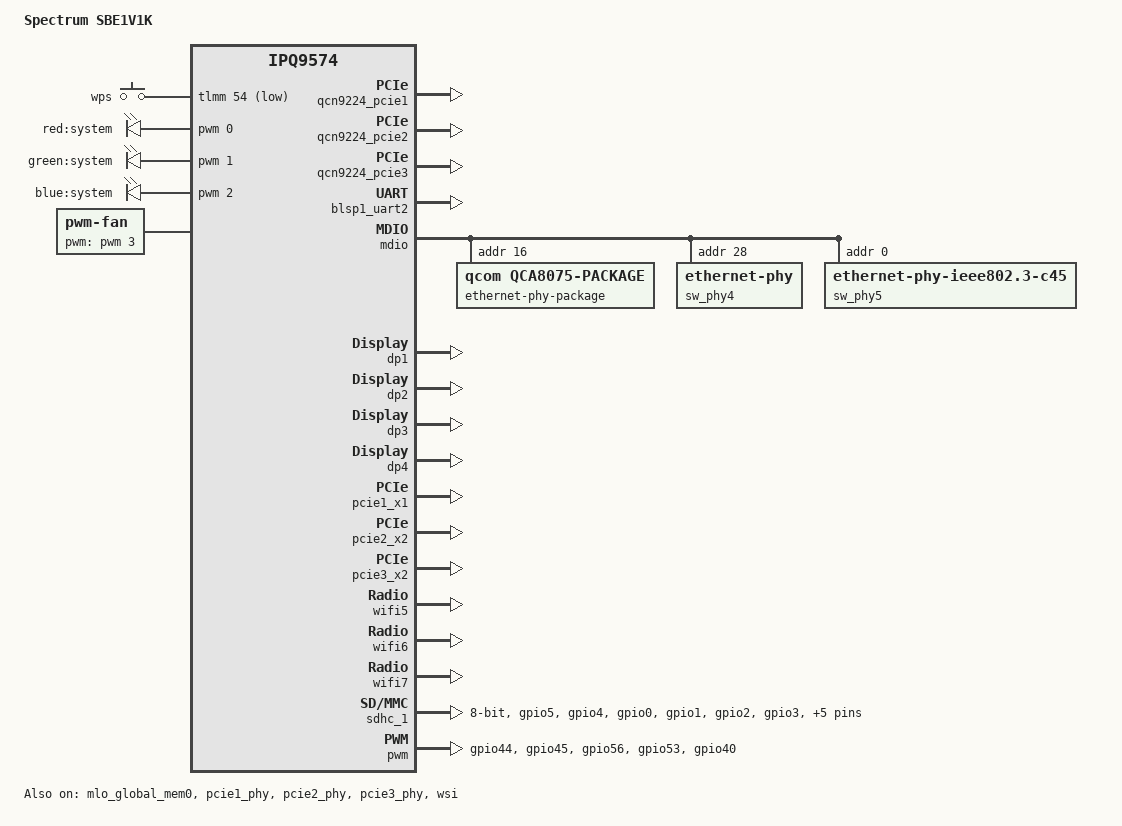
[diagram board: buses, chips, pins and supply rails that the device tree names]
// SPDX-License-Identifier: (GPL-2.0+ OR BSD-3-Clause)
/*
 * Spectrum SBE1V1K (Askey) - IPQ9574 + 3 x QCN9224
 *
 * STAGED DRAFT.  This file has NOT been applied to sources/, has never been
 * built with make, and has never been booted.  It exists so the device
 * definition can be reviewed before the build stage is approved.
 *
 * Evidence tags used below:
 *   RD = arch/arm64/boot/dts/qcom/ipq9574-rdp433.dts
 *        (oss-kernel-linux-ipq-files, the reference board for this target)
 *   DS = ipq9574.dtsi / ipq9574-qcn9224-default-memory.dtsi
 *   S1 = Spectrum product DTB extracted from the vendor firmware (QSDK 13,
 *        Linux 6.6.47) - extracted/kernel/sbe1v1k.dtb
 *   S2 = Askey QSDK-14 DTB extracted from the reference firmware
 *        (Linux 6.6.116, this ath12k generation) -
 *        extracted/qsdk14/sbe1v1k-askey.dtb
 *   NET = base-files/etc/board.d/01_network from the vendor rootfs
 *
 * See docs/PB_DEVICE_DEFINITION.md for the per-value evidence table and for
 * the list of values that remain UNVERIFIED.
 */

/dts-v1/;

#include <dt-bindings/gpio/gpio.h>
#include <dt-bindings/input/input.h>
#include <dt-bindings/leds/common.h>
#include "ipq9574.dtsi"
#include "ipq9574-qcn9224-default-memory.dtsi"

/ {
	/* S1: "Spectrum SBE1V1K ( Wi-Fi 7 320MHZ )"; shortened, no changed meaning */
	model = "Spectrum SBE1V1K";

	/*
	 * The first string is what /lib/preinit/02_sysinfo writes to
	 * /tmp/sysinfo/board_name (strings /proc/device-tree/compatible | head -1),
	 * and every board.d branch in the vendor rootfs keys on it (S1, NET).
	 */
	compatible = "spectrum,sbe1v1k", "qcom,ipq9574-ap-al02-c4",
		     "qcom,ipq9574-al02", "qcom,ipq9574";

	aliases {
		/* Console.  DS defines serial0..2 nowhere; RD does it this way. */
		serial0 = &blsp1_uart2;

		/*
		 * Documentation only: nss_dp_main.c never calls of_alias_get_id(),
		 * so ethN are assigned by DT probe order (see the dp nodes below).
		 * RD's "/soc/dpN" strings no longer resolve (the node is soc@0).
		 */
		ethernet0 = &dp1;	/* 10G   RTL8261N  */
		ethernet1 = &dp2;	/* 2.5G  QCA8081   */
		ethernet2 = &dp3;	/* 1G    qca8075   */
		ethernet3 = &dp4;	/* 1G    qca8075   */
	};

	chosen {
		stdout-path = "serial0:115200n8";

		/*
		 * S1 carries the same option.  S1 also appends
		 * "cnss2.enable_mlo_support=1", which only applies to the qcawifi
		 * stack and is deliberately not carried over.
		 *
		 * RD's "pcie_pme=nomsi" is NOT copied: the vendor product DTB (S1)
		 * does not set it, so it is not part of this board's boot contract.
		 */
		bootargs-append = " fstools_ignore_partname=1";
	};
};

/*
 * ---------------------------------------------------------------------------
 * Reserved memory
 * ---------------------------------------------------------------------------
 */

/*
 * DS emits nss@40000000 only under #if defined(__IPQ_PROFILE_MINENT__), which
 * no target in this tree defines.  S1 proves the vendor reserves it and the
 * NSS firmware requires it.  32 MB at 0x40000000..0x42000000 is the reason
 * Device/spectrum_sbe1v1k must set KERNEL_LOADADDR := 0x42000000; the target's
 * Device/Default falls back to 0x40000000 because CONFIG_ENABLE_UBI_CORE is
 * not a defined symbol anywhere.
 */
&{/reserved-memory} {
	nss@40000000 {
		no-map;
		reg = <0x0 0x40000000 0x0 0x2000000>;
		status = "okay";
	};

	/*
	 * DS ships three 36 MB windows whose node names encode the default base
	 * addresses.  S2 (the same board, same driver generation) uses 64 MB
	 * windows at 0x50100000 / 0x54100000 / 0x58100000 but left the node unit
	 * addresses at the old values.  The nodes are deleted and redeclared so
	 * the unit address matches reg.
	 *
	 * Why the region base and size are what matters, and the cnss-node
	 * base-addr/caldb-addr properties are not: ath12k looks the region up by
	 * name ("host-ddr-mem", ath12k/core.c: ath12k_core_get_reserved_mem_by_name)
	 * and then lays out every firmware chunk sequentially from its base
	 * (ath12k/qmi.c: ab->qmi.target_mem[idx].paddr = ddr_rmem->base + sz).
	 * Nothing in ath12k reads base-addr / hremote-size.
	 */
	/delete-node/ qcn9224_pcie1@50100000;
	/delete-node/ qcn9224_pcie2@52500000;
	/delete-node/ qcn9224_pcie3@54900000;

	qcn9224_pcie1: qcn9224_pcie1@50100000 {
		no-map;
		reg = <0x0 0x50100000 0x0 0x4000000>;
		status = "okay";
	};

	qcn9224_pcie2: qcn9224_pcie2@54100000 {
		no-map;
		reg = <0x0 0x54100000 0x0 0x4000000>;
		status = "okay";
	};

	qcn9224_pcie3: qcn9224_pcie3@58100000 {
		no-map;
		reg = <0x0 0x58100000 0x0 0x4000000>;
		status = "okay";
	};
};

/*
 * mhi_region1..3 stay disabled, exactly as in RD and S2: RD only enables them
 * under __MHI_BUS_RESERVED_DMA_POOL__, a macro no build in this tree defines.
 */

/* S2 and RD both enable this one. */
&mlo_global_mem0 {
	status = "okay";
};

/*
 * ---------------------------------------------------------------------------
 * Console
 * ---------------------------------------------------------------------------
 */

&blsp1_uart2 {
	pinctrl-0 = <&uart2_pins>;
	pinctrl-names = "default";
	status = "okay";
};

/*
 * ---------------------------------------------------------------------------
 * Ethernet: MDIO, PHYs, switch, nss-dp
 * ---------------------------------------------------------------------------
 */

/* S1: two reset lines, tlmm 60 (qca8075) and tlmm 52 (RTL8261N). */
&mdio {
	pinctrl-0 = <&mdio_pins>;
	pinctrl-names = "default";
	phy-reset-gpio = <&tlmm 60 GPIO_ACTIVE_LOW &tlmm 52 GPIO_ACTIVE_LOW>;
	status = "okay";

	ethernet-phy-package@0 {
		compatible = "qcom,qca8075-package";
		#address-cells = <1>;
		#size-cells = <0>;
		reg = <0x10>;
		qcom,package-mode = "qsgmii";

		sw_phy0: ethernet-phy@10 {
			reg = <0x10>;
		};

		sw_phy1: ethernet-phy@11 {
			reg = <0x11>;
		};

		sw_phy2: ethernet-phy@12 {
			reg = <0x12>;
		};

		sw_phy3: ethernet-phy@13 {
			reg = <0x13>;
		};
	};

	/* QCA8081 2.5G, S1 reg 0x1c */
	sw_phy4: ethernet-phy@1c {
		reg = <0x1c>;
	};

	/* RTL8261N 10G, C45, S1 reg 0x00 */
	sw_phy5: ethernet-phy@0 {
		compatible = "ethernet-phy-ieee802.3-c45";
		reg = <0x0>;
	};
};

&ess_switch {
	switch_cpu_bmp = <0x1>;
	switch_inner_bmp = <0x80>;
	/* S1/NET: port 5 is WAN; ports 3, 4 and 6 are LAN (0x58 = BIT(3)|BIT(4)|BIT(6)) */
	switch_lan_bmp = <0x58>;
	switch_wan_bmp = <0x20>;
	/* S1: QSGMII / SGMII_CHANNEL0 / USXGMII */
	switch_mac_mode = <0x0b>;
	switch_mac_mode1 = <0x0f>;
	switch_mac_mode2 = <0x0d>;
	bm_tick_mode = <0>;
	tm_tick_mode = <0>;

	qcom,port_phyinfo {
		port@0 {
			port_id = <1>;
			phy_address = <0x10>;
			phy-handle = <&sw_phy0>;
			phy-mode = "qsgmii";
		};

		port@1 {
			port_id = <2>;
			phy_address = <0x11>;
			phy-handle = <&sw_phy1>;
			phy-mode = "qsgmii";
		};

		port@2 {
			port_id = <3>;
			phy_address = <0x12>;
			phy-handle = <&sw_phy2>;
			phy-mode = "qsgmii";
		};

		port@3 {
			port_id = <4>;
			phy_address = <0x13>;
			phy-handle = <&sw_phy3>;
			phy-mode = "qsgmii";
		};

		port@4 {
			port_id = <5>;
			phy_address = <0x1c>;
			phy-handle = <&sw_phy4>;
			phy-mode = "sgmii";
			port_mac_sel = "QGMAC_PORT";
		};

		port@5 {
			port_id = <6>;
			phy_address = <0x0>;
			phy-handle = <&sw_phy5>;
			phy-mode = "usxgmii";
			ethernet-phy-ieee802.3-c45;
		};
	};

	/* S1: QCA8081 LED sources for port 5; parsed by ssdk_dt_parse_port_ledinfo */
	qcom,port_ledinfo {
		port5 {
			port = <5>;

			led_source@f {
				source = <0xf>;
				mode = "normal";
				speed = "all";
				blink_en = "enable";
				freq = "auto";
				active = "low";
			};

			led_source@10 {
				source = <0x10>;
				mode = "normal";
				speed = "all";
				blink_en = "enable";
				freq = "auto";
				active = "low";
			};
		};
	};
};

/*
 * nss-dp probe order defines ethN: probe order is DT order, and
 * alloc_etherdev_mqs() hands out eth%d sequentially (nss_dp_main.c:1133).
 * The order below reproduces the vendor mapping recorded in NET:
 *   eth0 = dp1 = port 6 = RTL8261N 10G   (attached to br-lan by eth0-lan-attach)
 *   eth1 = dp2 = port 5 = QCA8081 2.5G   (wan)
 *   eth2 = dp3 = port 3 = qca8075        (lan)
 *   eth3 = dp4 = port 4 = qca8075        (lan)
 *
 * phy-mode is deliberately absent on every dp node.  of_get_phy_mode() fails,
 * which sets phylink_en = true (nss_dp_main.c:891 -- the sense of that branch
 * is inverted relative to a normal success check), and ssdk_port_phylink_setup()
 * then takes the interface type and phy-handle from qcom,port_phyinfo above.
 * This is RD's arrangement.  S1 instead put phy-mode/qcom,phy-mdio-addr on the
 * dp nodes, which selects the legacy phy_connect() path in a driver generation
 * this build does not use.
 *
 * mactype: 0 = qcom_gmac_ops (1G GMAC), 1 = syn_gmac_ops (Synopsys XGMAC).
 * For ipq95xx only hal/gmac_ops/qcom/qcom_if.o and hal/gmac_ops/syn/xgmac/syn_if.o
 * are linked (oss-lklm-nss-dp/Makefile), and nss_ipq95xx.c registers exactly
 * those two types.  Port 6 is USXGMII and therefore needs the XGMAC base
 * (0x3a514000) with mactype 1.  S2 -- the QSDK-14 build for this same board,
 * i.e. the driver generation this tree uses -- pairs dp1 id 6 / 0x3a514000 with
 * mactype 1.  S1 pairs that base with mactype 0, which is an artifact of its
 * older driver.  RD has no XGMAC port (its dp1 is port 1 at 0x3a001000,
 * mactype 0), so it is not evidence either way for port 6.
 *
 * qcom,ppe-offload-disabled is deliberately NOT copied from RD's dp1..dp4:
 * NSS/PPE offload is a requirement for this build.
 */
&soc {
	dp1: dp1 {
		device_type = "network";
		compatible = "qcom,nss-dp";
		qcom,id = <6>;
		reg = <0x3a514000 0x4000>;
		qcom,mactype = <1>;
		local-mac-address = [00 00 00 00 00 00];
	};

	dp2: dp2 {
		device_type = "network";
		compatible = "qcom,nss-dp";
		qcom,id = <5>;
		reg = <0x3a001800 0x200>;
		qcom,mactype = <0>;
		local-mac-address = [00 00 00 00 00 00];
	};

	dp3: dp3 {
		device_type = "network";
		compatible = "qcom,nss-dp";
		qcom,id = <3>;
		reg = <0x3a001400 0x200>;
		qcom,mactype = <0>;
		local-mac-address = [00 00 00 00 00 00];
	};

	dp4: dp4 {
		device_type = "network";
		compatible = "qcom,nss-dp";
		qcom,id = <4>;
		reg = <0x3a001600 0x200>;
		qcom,mactype = <0>;
		local-mac-address = [00 00 00 00 00 00];
	};

	/*
	 * EDMA host-driver ring configuration.  RD433, S1 and S2 carry this
	 * block with identical values (the interrupts arrays are element-for-
	 * element equal), and it is mandatory rather than tuning:
	 * qca-nss-dp's edma_v2 probe does of_property_read_u32() on
	 * qcom,txdesc-ring-start and the rest of the ring map
	 * (hal/dp_ops/edma_dp/edma_v2/edma.c:569) and returns -EINVAL when any
	 * is absent, and edma_irq_init() platform_get_irq()s one IRQ per
	 * txcmpl / rxdesc / rxfill ring plus misc, returning -1 on a shortfall.
	 * Without this node qca-nss-dp never binds and no Ethernet port ever
	 * appears (the v22 failure).  compatible/reg/resets/clocks stay as
	 * declared in ipq9574.dtsi; only the properties below are added.
	 */
	edma@3ab00000 {
		qcom,txdesc-ring-start = <4>;		/* Tx desc ring start ID */
		qcom,txdesc-rings = <28>;		/* Total number of Tx desc rings to be provisioned */
		qcom,txcmpl-ring-start = <4>;		/* Tx complete ring start ID */
		qcom,txcmpl-rings = <28>;		/* Total number of Tx complete rings to be provisioned */
		qcom,rxfill-ring-start = <4>;		/* Rx fill ring start ID */
		qcom,rxfill-rings = <4>;		/* Total number of Rx fill rings to be provisioned */
		qcom,rxdesc-ring-start = <20>;		/* Rx desc ring start ID */
		qcom,rxdesc-rings = <4>;		/* Total number of Rx desc rings to be provisioned */
		qcom,rx-page-mode = <0>;		/* Rx fill ring page mode */
		qcom,tx-map-priority-level = <1>;	/* Tx priority level per port */
		qcom,rx-map-priority-level = <1>;	/* Rx priority level per core */
		qcom,ppeds-num = <3>;			/* Number of PPEDS nodes */
		/* PPE-DS node format: <Rx-fill Tx-cmpl Rx Tx Queue-base Queue-count> */
		qcom,ppeds-map = <1 1 1 1 32 8>,	/* PPEDS Node#0 ring and queue map */
				 <2 2 2 2 40 8>,	/* PPEDS Node#1 ring and queue map */
				 <3 3 3 3 48 8>;	/* PPEDS Node#2 ring and queue map */
		qcom,txdesc-map = <8 9 10 11>,		/* Port0 per-core Tx ring map */
				  <12 13 14 15>,	/* Port1 per-core Tx ring map */
				  <16 17 18 19>,	/* Port2 per-core Tx ring map */
				  <20 21 22 23>,	/* Port3 per-core Tx ring map */
				  <24 25 26 27>,	/* Port4 per-core Tx ring map */
				  <28 29 30 31>,	/* Port5 per-core Tx ring map */
				  <4 5 6 7>;		/* Used only for packets from VP */
		qcom,txdesc-fc-grp-map = <1 2 3 4 5 6>;	/* Per GMAC flow control group map */
		qcom,rxfill-map = <4 5 6 7>;		/* Per-core Rx fill ring map */
		qcom,rxdesc-map = <20 21 22 23>;	/* Per-core Rx desc ring map */
		qcom,rx-queue-start = <0>;		/* Rx queue start */
		qcom,rx-ring-queue-map = <0 8 16 24>,	/* Priority 0 queues per-core Rx ring map */
					 <1 9 17 25>,	/* Priority 1 queues per-core Rx ring map */
					 <2 10 18 26>,	/* Priority 2 queues per-core Rx ring map */
					 <3 11 19 27>,	/* Priority 3 queues per-core Rx ring map */
					 <4 12 20 28>,	/* Priority 4 queues per-core Rx ring map */
					 <5 13 21 29>,	/* Priority 5 queues per-core Rx ring map */
					 <6 14 22 30>,	/* Priority 6 queues per-core Rx ring map */
					 <7 15 23 31>;	/* Priority 7 queues per-core Rx ring map */
		qcom,vp-id = <8>;			/* Virtual port dummy MAC Id */
		qcom,txdesc_point_offload_ring = <0>;	/* Txdesc point offload ring */
		qcom,txcmpl_point_offload_ring = <0>;	/* Txcmpl point offload ring */
		qcom,rxfill_point_offload_ring = <0>;	/* Rxfill point offload ring */
		qcom,rxdesc_point_offload_ring = <0>;	/* Rxdesc point offload ring */
		qcom,num_loopback_rings = <1>;
		qcom,txdesc_loopback_ring_id = <0>;
		qcom,txcmpl_loopback_ring_id = <0>;
		qcom,rxfill_loopback_ring_id = <0>;
		qcom,rxdesc_loopback_ring_id = <0>;
		qcom,loopback_queue_base = <56>;
		qcom,loopback_num_queues = <8>;
		interrupts = <0 367 4>,			/* Tx complete ring id #4 IRQ info */
			     <0 368 4>,			/* Tx complete ring id #5 IRQ info */
			     <0 369 4>,			/* Tx complete ring id #6 IRQ info */
			     <0 370 4>,			/* Tx complete ring id #7 IRQ info */
			     <0 371 4>,			/* Tx complete ring id #8 IRQ info */
			     <0 372 4>,			/* Tx complete ring id #9 IRQ info */
			     <0 373 4>,			/* Tx complete ring id #10 IRQ info */
			     <0 374 4>,			/* Tx complete ring id #11 IRQ info */
			     <0 375 4>,			/* Tx complete ring id #12 IRQ info */
			     <0 376 4>,			/* Tx complete ring id #13 IRQ info */
			     <0 377 4>,			/* Tx complete ring id #14 IRQ info */
			     <0 378 4>,			/* Tx complete ring id #15 IRQ info */
			     <0 379 4>,			/* Tx complete ring id #16 IRQ info */
			     <0 380 4>,			/* Tx complete ring id #17 IRQ info */
			     <0 381 4>,			/* Tx complete ring id #18 IRQ info */
			     <0 382 4>,			/* Tx complete ring id #19 IRQ info */
			     <0 383 4>,			/* Tx complete ring id #20 IRQ info */
			     <0 384 4>,			/* Tx complete ring id #21 IRQ info */
			     <0 509 4>,			/* Tx complete ring id #22 IRQ info */
			     <0 508 4>,			/* Tx complete ring id #23 IRQ info */
			     <0 507 4>,			/* Tx complete ring id #24 IRQ info */
			     <0 506 4>,			/* Tx complete ring id #25 IRQ info */
			     <0 505 4>,			/* Tx complete ring id #26 IRQ info */
			     <0 504 4>,			/* Tx complete ring id #27 IRQ info */
			     <0 503 4>,			/* Tx complete ring id #28 IRQ info */
			     <0 502 4>,			/* Tx complete ring id #29 IRQ info */
			     <0 501 4>,			/* Tx complete ring id #30 IRQ info */
			     <0 500 4>,			/* Tx complete ring id #31 IRQ info */
			     <0 351 4>,			/* Rx desc ring id #20 IRQ info */
			     <0 352 4>,			/* Rx desc ring id #21 IRQ info */
			     <0 353 4>,			/* Rx desc ring id #22 IRQ info */
			     <0 354 4>,			/* Rx desc ring id #23 IRQ info */
			     <0 499 4>,			/* Misc error IRQ info */
			     <0 359 4>,			/* RxFill ring id #4 IRQ info */
			     <0 360 4>,			/* RxFill ring id #5 IRQ info */
			     <0 361 4>,			/* RxFill ring id #6 IRQ info */
			     <0 362 4>,			/* RxFill ring id #7 IRQ info */
			     <0 364 4>,			/* PPEDS Node #1(TxComp ring id #1) TxComplete IRQ info */
			     <0 332 4>,			/* PPEDS Node #1(Rx Desc ring id #1) Rx Desc IRQ info */
			     <0 356 4>,			/* PPEDS Node #1(RxFill Desc ring id #1) Rx Fill IRQ info */
			     <0 365 4>,			/* PPEDS Node #2(TxComp ring id #2) TxComplete IRQ info */
			     <0 333 4>,			/* PPEDS Node #2(Rx Desc ring id #2) Rx Desc IRQ info */
			     <0 357 4>,			/* PPEDS Node #2(RxFill Desc ring id #2) Rx Fill IRQ info */
			     <0 366 4>,			/* PPEDS Node #3(TxComp ring id #3) TxComplete IRQ info */
			     <0 334 4>,			/* PPEDS Node #3(Rx Desc ring id #3) Rx Desc IRQ info */
			     <0 358 4>;			/* PPEDS Node #3(RxFill Desc ring id #3) Rx Fill IRQ info */
	};
};

/*
 * ---------------------------------------------------------------------------
 * PCIe / Wi-Fi: three QCN9224 behind the WSI ring
 * ---------------------------------------------------------------------------
 */

&pcie1_phy {
	status = "okay";
};

&pcie2_phy {
	status = "okay";
};

&pcie3_phy {
	status = "okay";
};

/* RD and S2 carry identical chip_info */
&wsi {
	id = <0>;
	num_chip = <3>;
	status = "okay";
	chip_info = <0 2 1 2>,
		    <1 2 2 0>,
		    <2 2 0 1>;
};

/*
 * The wifi@0 property sets below are S2's, and S2's board_id/caldata_offset
 * values are identical to RD's, which is independent confirmation that they
 * describe this hardware and not a reference board:
 *   pcie1 -> wifi5, board_id 1, wsi_index 2, caldata 0x58800
 *   pcie2 -> wifi6, board_id 4, wsi_index 0, caldata 0x8a800 (WSI controller)
 *   pcie3 -> wifi7, board_id 2, wsi_index 1, caldata 0xbc800
 * qcom,caldata_offset is consumed by U-Boot's fdt_fixup
 * (oss-boot-u-boot/board/qti/common/fdt_fixup.c:410), not by the kernel.
 *
 * qcom,early_cal_enabled = "disabled" on all three follows S2.  RD marks the
 * second and third controllers "supported"; S2 is the same board, so S2 wins.
 *
 * The memory-region phandles point at mhi_regionN even though those pools stay
 * disabled -- S2 and RD both do this; ath12k only resolves host-ddr-mem and
 * mlo-global-mem by name.
 */

&pcie1_x1 {
	perst-gpios = <&tlmm 26 GPIO_ACTIVE_LOW>;
	status = "okay";

	pcie@0 {
		device_type = "pci";
		reg = <0x0 0x0 0x0 0x0 0x0>;
		#address-cells = <3>;
		#size-cells = <2>;
		ranges;

		wifi@0 {
			boot-args = <0x2 0x4 0x34 0x3 0x0 0x0
				     0x4 0x4 0x18 0x3 0x0 0x0
				     0x0 0x4 0x0 0x0 0x0 0x0>;
			memory-region = <&qcn9224_pcie1>, <&mhi_region1>, <&mlo_global_mem0>;
			memory-region-names = "host-ddr-mem", "mhi-region", "mlo-global-mem";
			reg = <0x0 0x0 0x0 0x0 0x0>;
			qcom,early_cal_enabled = "disabled";
			qcom,caldata_offset = <0x58800>;
			qcom,caldb_offset = <0x1100000>;
			qcom,caldb_size = <0x800000>;
			qcom,board_id = <0x01>;
			qcom,wsi = <&wsi>;
			qcom,wsi_index = <2>;
			qcom,pta-num = <0>;
			qcom,coex-mode = <0x2>;
			qcom,bt-active-time = <0x18>;
			qcom,bt-priority-time = <0x12>;
			qcom,coex-algo = <0x2>;
			qcom,pta-priority = <0x80800505>;

			ports {
				#address-cells = <1>;
				#size-cells = <0>;

				port@0 {
					reg = <0>;

					wifi1_wsi_tx: endpoint {
						remote-endpoint = <&wifi2_wsi_rx>;
					};
				};

				port@1 {
					reg = <1>;

					wifi1_wsi_rx: endpoint {
						remote-endpoint = <&wifi3_wsi_tx>;
					};
				};
			};
		};
	};
};

&pcie2_x2 {
	perst-gpios = <&tlmm 29 GPIO_ACTIVE_LOW>;
	status = "okay";

	pcie@0 {
		device_type = "pci";
		reg = <0x0 0x0 0x0 0x0 0x0>;
		#address-cells = <3>;
		#size-cells = <2>;
		ranges;

		wifi@0 {
			boot-args = <0x2 0x4 0x34 0x3 0x0 0x0
				     0x4 0x4 0x18 0x3 0x0 0x0
				     0x0 0x4 0x0 0x0 0x0 0x0>;
			memory-region = <&qcn9224_pcie2>, <&mhi_region2>, <&mlo_global_mem0>;
			memory-region-names = "host-ddr-mem", "mhi-region", "mlo-global-mem";
			reg = <0x0 0x0 0x0 0x0 0x0>;
			qcom,early_cal_enabled = "disabled";
			qcom,caldata_offset = <0x8a800>;
			qcom,caldb_offset = <0x1100000>;
			qcom,caldb_size = <0x800000>;
			qcom,board_id = <0x04>;
			qcom,wsi = <&wsi>;
			qcom,wsi_index = <0>;
			qcom,wsi-controller;

			ports {
				#address-cells = <1>;
				#size-cells = <0>;

				port@0 {
					reg = <0>;

					wifi2_wsi_tx: endpoint {
						remote-endpoint = <&wifi3_wsi_rx>;
					};
				};

				port@1 {
					reg = <1>;

					wifi2_wsi_rx: endpoint {
						remote-endpoint = <&wifi1_wsi_tx>;
					};
				};
			};
		};
	};
};

&pcie3_x2 {
	perst-gpios = <&tlmm 32 GPIO_ACTIVE_LOW>;
	status = "okay";

	pcie@0 {
		device_type = "pci";
		reg = <0x0 0x0 0x0 0x0 0x0>;
		#address-cells = <3>;
		#size-cells = <2>;
		ranges;

		wifi@0 {
			boot-args = <0x2 0x4 0x34 0x3 0x0 0x0
				     0x4 0x4 0x18 0x3 0x0 0x0
				     0x0 0x4 0x0 0x0 0x0 0x0>;
			memory-region = <&qcn9224_pcie3>, <&mhi_region3>, <&mlo_global_mem0>;
			memory-region-names = "host-ddr-mem", "mhi-region", "mlo-global-mem";
			reg = <0x0 0x0 0x0 0x0 0x0>;
			qcom,early_cal_enabled = "disabled";
			qcom,caldata_offset = <0xbc800>;
			qcom,caldb_offset = <0x1100000>;
			qcom,caldb_size = <0x800000>;
			qcom,board_id = <0x02>;
			qcom,wsi = <&wsi>;
			qcom,wsi_index = <1>;

			ports {
				#address-cells = <1>;
				#size-cells = <0>;

				port@0 {
					reg = <0>;

					wifi3_wsi_tx: endpoint {
						remote-endpoint = <&wifi1_wsi_rx>;
					};
				};

				port@1 {
					reg = <1>;

					wifi3_wsi_rx: endpoint {
						remote-endpoint = <&wifi2_wsi_tx>;
					};
				};
			};
		};
	};
};

&wifi5 {
	hremote_node = <&qcn9224_pcie1>;
	board_id = <0x01>;
	hw_link_id = <0 0>;
	status = "okay";
};

&wifi6 {
	hremote_node = <&qcn9224_pcie2>;
	board_id = <0x04>;
	hw_link_id = <1 0>;
	status = "okay";
};

&wifi7 {
	hremote_node = <&qcn9224_pcie3>;
	board_id = <0x02>;
	hw_link_id = <2 0>;
	status = "okay";
};

/*
 * The DS cnss nodes still describe the 36 MB layout at
 * 0x50100000 / 0x52500000 / 0x54900000.  ath12k ignores these properties (see
 * the reserved-memory comment), but they are kept consistent with the 64 MB
 * regions so that no consumer -- current or legacy -- reads a stale address.
 * The arithmetic is base + 0x1100000 (hremote) / 0x800000 (caldb) /
 * 0x100000 (m3 dump) / 0x100000 (etr) / 0x900000 (pageable) = base + 42 MB,
 * inside the 64 MB region.
 *
 * NOTE: these overrides are unconditional and therefore assume the default
 * (non-512 MB) memory profile.  __IPQ_MEM_PROFILE_512_MB__ must not be defined
 * for this device.
 */
&wifi5 {
	base-addr = <0x50100000>;
	caldb-addr = <0x51200000>;
	m3-dump-addr = <0x51a00000>;
	etr-addr = <0x51b00000>;
	pageable-addr = <0x51c00000>;
};

&wifi6 {
	base-addr = <0x54100000>;
	caldb-addr = <0x55200000>;
	m3-dump-addr = <0x55a00000>;
	etr-addr = <0x55b00000>;
	pageable-addr = <0x55c00000>;
};

&wifi7 {
	base-addr = <0x58100000>;
	caldb-addr = <0x59200000>;
	m3-dump-addr = <0x59a00000>;
	etr-addr = <0x59b00000>;
	pageable-addr = <0x59c00000>;
};

/*
 * ---------------------------------------------------------------------------
 * Buttons, LEDs, fan
 * ---------------------------------------------------------------------------
 */

&tlmm {
	button_pins: button-pins {
		pins = "gpio54";
		function = "gpio";
		drive-strength = <8>;
		bias-pull-up;
	};

	/*
	 * S1's pwm_pinmux.  The four "pwm" entries prove which pads are routed to
	 * the PWM block; they do NOT prove which PWM channel drives which pad.
	 * gpio40 is configured by the vendor as a pulled-up GPIO inside the same
	 * state and is reproduced here as-is.
	 */
	pwm_pins: pwm-pins {
		mux_red {
			pins = "gpio44";
			function = "pwm";
			drive-strength = <8>;
			bias-disable;
		};

		mux_green {
			pins = "gpio45";
			function = "pwm";
			drive-strength = <8>;
			bias-disable;
		};

		mux_blue {
			pins = "gpio56";
			function = "pwm";
			drive-strength = <8>;
			bias-disable;
		};

		mux_fan {
			pins = "gpio53";
			function = "pwm";
			drive-strength = <8>;
			bias-disable;
		};

		mux_5 {
			pins = "gpio40";
			function = "gpio";
			drive-strength = <8>;
			bias-pull-up;
		};
	};

	/*
	 * eMMC pads, identical to the vendor DTB's sdc-default-state: gpio5 clk,
	 * gpio4 cmd, gpio0-3/6-9 data, gpio10 rclk (return clock for HS400).
	 */
	sdc_default_state: sdc-default-state {
		clk-pins {
			pins = "gpio5";
			function = "sdc_clk";
			drive-strength = <8>;
			bias-disable;
		};

		cmd-pins {
			pins = "gpio4";
			function = "sdc_cmd";
			drive-strength = <8>;
			bias-pull-up;
		};

		data-pins {
			pins = "gpio0", "gpio1", "gpio2",
			       "gpio3", "gpio6", "gpio7",
			       "gpio8", "gpio9";
			function = "sdc_data";
			drive-strength = <8>;
			bias-pull-up;
		};

		rclk-pins {
			pins = "gpio10";
			function = "sdc_rclk";
			drive-strength = <8>;
			bias-pull-down;
		};
	};
};

/*
 * eMMC: the board boots from it, so this controller must be enabled.  Without
 * it there is no /dev/mmcblk0, U-Boot's root=PARTUUID= cannot resolve, and the
 * kernel panics.  Properties mirror rdp437.dts and the vendor DTB.
 */
&sdhc_1 {
	pinctrl-0 = <&sdc_default_state>;
	pinctrl-names = "default";
	mmc-ddr-1_8v;
	mmc-hs200-1_8v;
	mmc-hs400-1_8v;
	mmc-hs400-enhanced-strobe;
	max-frequency = <384000000>;
	bus-width = <8>;
	status = "okay";
};

&pwm {
	pinctrl-0 = <&pwm_pins>;
	pinctrl-names = "default";
	status = "okay";
};

&soc {
	/*
	 * S1 labels this button "wps" with linux,code = KEY_WPS_BUTTON, but its
	 * pinmux group is called "reset_button".  Which function the physical
	 * button really has is UNVERIFIED; see docs/PB_DEVICE_DEFINITION.md.
	 */
	gpio_keys {
		compatible = "gpio-keys";
		pinctrl-0 = <&button_pins>;
		pinctrl-names = "default";
		status = "okay";

		button@1 {
			label = "wps";
			linux,code = <KEY_WPS_BUTTON>;
			gpios = <&tlmm 54 GPIO_ACTIVE_LOW>;
			linux,input-type = <1>;
			debounce-interval = <60>;
		};
	};

	/*
	 * The vendor disables leds-gpio and drives /sys/class/pwm/pwmchip0 from
	 * a Go daemon (usr/bin/factory-pwm).  A pwm-leds node is the in-kernel
	 * equivalent.  Channel assignment (0=red, 1=green, 2=blue) is UNVERIFIED;
	 * only channel 3 -> fan is proven, by S1's pwm-fan node.  A wrong channel
	 * mapping is cosmetic; it cannot damage the board.
	 */
	leds {
		compatible = "pwm-leds";

		led-red {
			label = "red:system";
			pwms = <&pwm 0 40000 0>;
			default-state = "off";
		};

		led-green {
			label = "green:system";
			pwms = <&pwm 1 40000 0>;
			default-state = "off";
		};

		led-blue {
			label = "blue:system";
			pwms = <&pwm 2 40000 0>;
			default-state = "off";
		};
	};

	/*
	 * S1 verbatim: channel 3, 40 us period, four cooling levels.
	 *
	 * There is no cooling-device link to a thermal zone anywhere in DS/RD/S1,
	 * so with this node alone the fan stays at cooling level 0 (off) unless
	 * userspace drives /sys/class/hwmon/hwmonX/pwm1.  The vendor fills that
	 * gap with its Go daemon.  This build has no equivalent yet -- tracked as
	 * a P-C deliverable and a thermal-safety item in the device-definition doc.
	 */
	pwm-fan {
		compatible = "pwm-fan";
		cooling-min-state = <0>;
		cooling-max-state = <3>;
		pwms = <&pwm 3 40000 0>;
		cooling-levels = <0 0x55 0xaa 0xff>;
		#cooling-cells = <2>;
	};
};

/*
 * DS leaves xo and sleep_clk as fixed-clock with no rate; the board has to
 * supply one.  Without the xo rate sdhci_msm logs "TCXO clk not present
 * (-517)" and the eMMC never initialises ("mmc0: Failed to initialize a
 * non-removable card") -- v50 hardware test, 2026-11-12.  S1: 24 MHz XO,
 * 32 kHz sleep.
 */
&xo {
	clock-frequency = <24000000>;
};

/*
 * sleep_clk deliberately has no rate.  Its only consumer is qcom_wdt
 * (b017000.watchdog), which then stays in deferred probe; the system boots
 * and runs without it (v55 hardware test, 2026-11-13).  A rate here was in
 * every failing DTB.  Re-validate the watchdog in its own cycle rather than
 * coupling it to the boot-blocker workaround below.
 */

/*
 * Disable cpufreq for this board.  Once xo has a rate the CPU clock
 * resolves (apcs-apps-global -> a73pll) and cpufreq-dt comes online; the
 * governor's first dev_pm_opp_set_rate() reprograms the APCS mux and the
 * A73 PLL, and the board dies silently before userland -- v52/v53/v54 all
 * stopped there, v50 (cpufreq could not register at all) and v55 (OPP table
 * absent) both reached userland.  This kernel has no voltage management for
 * these CPUs (CONFIG_QCOM_CPR and CONFIG_QCOM_APM are off), so there is no
 * safe frequency transition to offer anyway; APPSBL already left the cores
 * at a usable rate.  Revisit only together with a working a73pll/cpufreq
 * story.
 */
&CPU0 { /delete-property/ operating-points-v2; };
&CPU1 { /delete-property/ operating-points-v2; };
&CPU2 { /delete-property/ operating-points-v2; };
&CPU3 { /delete-property/ operating-points-v2; };
